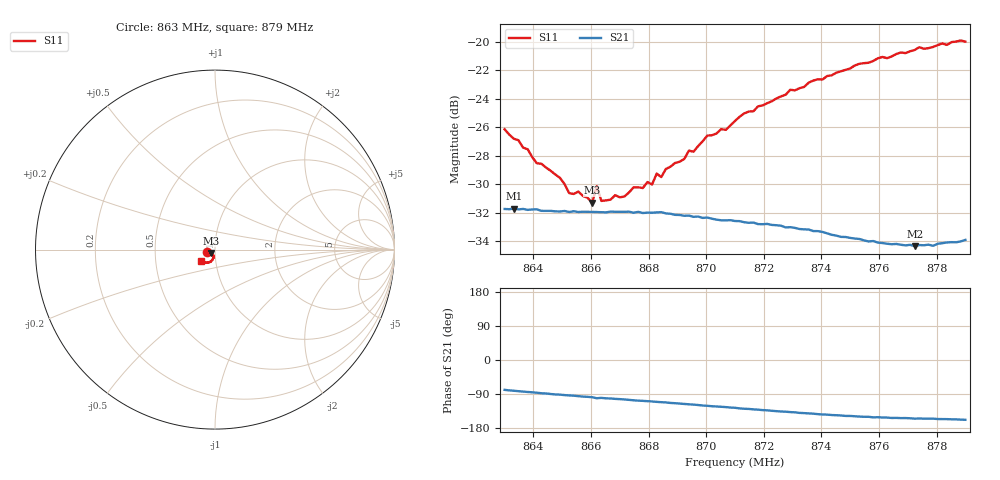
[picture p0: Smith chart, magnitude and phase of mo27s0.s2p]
# HZ S RI R 50
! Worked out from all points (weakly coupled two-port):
!   101 points, 863 MHz to 879 MHz, reference 50 ohm
!   highest |S21| = -31.72 dB at 863.32 MHz (marker M1); lowest = -34.4 dB at 877.24 MHz (marker M2)
!   lowest |S11| = -31.3 dB at 866.04 MHz (marker M3), VSWR 1.06, Z = 48 - j1.79 ohm
!   |S11| at or under -10 dB: start of sweep to end of sweep
!   S12 and S22 are empty: the file has one direction only
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8.63e8  -0.0471 -0.0144  0.00503 -0.0254  0 0  0 0
8.6332e8  -0.0432 -0.0146  0.00397 -0.0256  0 0  0 0
8.638e8  -0.0396 -0.0136  0.00251 -0.0255  0 0  0 0
8.6412e8  -0.0344 -0.0147  0.00166 -0.0257  0 0  0 0
8.6492e8  -0.0293 -0.0158  -0.000622 -0.0253  0 0  0 0
8.6524e8  -0.0249 -0.0156  -0.00155 -0.0252  0 0  0 0
8.6572e8  -0.0226 -0.0177  -0.00286 -0.0251  0 0  0 0
8.6604e8  -0.0198 -0.0186  -0.00362 -0.025  0 0  0 0
8.662e8  -0.0216 -0.0224  -0.00476 -0.0248  0 0  0 0
8.6636e8  -0.0186 -0.0203  -0.00435 -0.0248  0 0  0 0
8.6652e8  -0.0173 -0.0216  -0.00487 -0.0247  0 0  0 0
8.6716e8  -0.0142 -0.0248  -0.00619 -0.0245  0 0  0 0
8.6796e8  -0.0107 -0.0303  -0.00804 -0.0238  0 0  0 0
8.6812e8  -0.0103 -0.0298  -0.00833 -0.0237  0 0  0 0
8.6828e8  -0.0109 -0.0326  -0.0088 -0.0235  0 0  0 0
8.6844e8  -0.00929 -0.0321  -0.00915 -0.0235  0 0  0 0
8.7004e8  -0.00942 -0.0458  -0.0123 -0.0207  0 0  0 0
8.71e8  -0.0121 -0.0513  -0.0138 -0.0189  0 0  0 0
8.7372e8  -0.0252 -0.0686  -0.017 -0.0134  0 0  0 0
8.7644e8  -0.0517 -0.0722  -0.0173 -0.00883  0 0  0 0
8.7724e8  -0.0604 -0.0714  -0.0173 -0.00815  0 0  0 0
8.79e8  -0.0764 -0.0646  -0.0186 -0.0076  0 0  0 0
